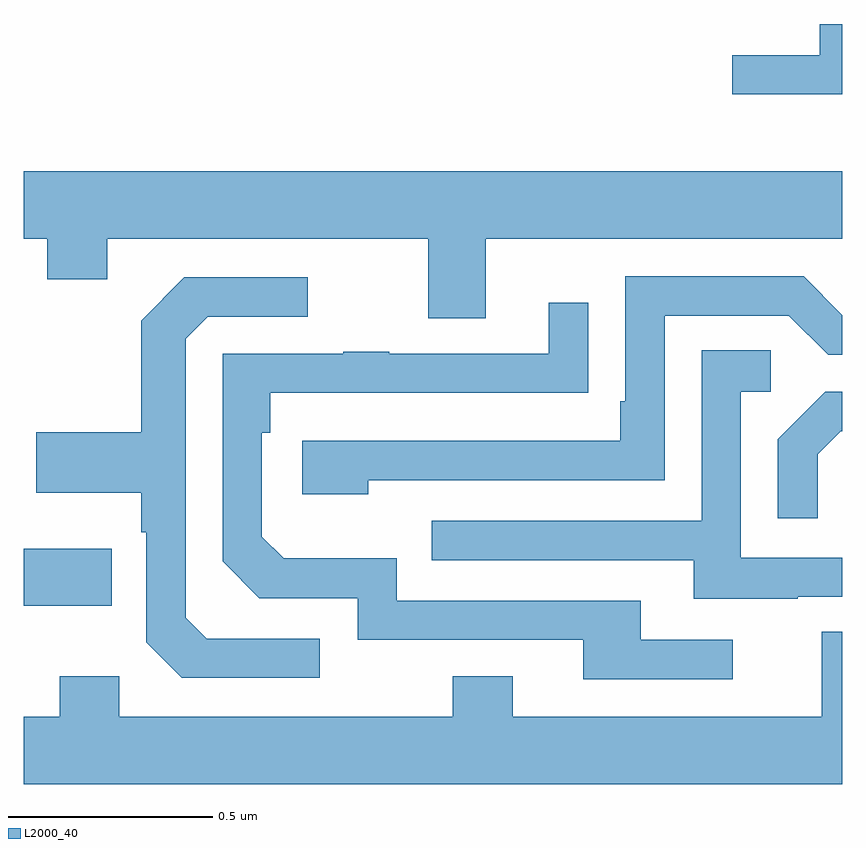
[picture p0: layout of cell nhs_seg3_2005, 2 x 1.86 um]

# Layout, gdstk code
import gdstk
lib = gdstk.Library(unit=1e-6, precision=1e-09)
def R(c, l, rs):  # rectangles x0, y0, x1, y1
    for r in rs: c.add(gdstk.rectangle(r[:2], r[2:], *l))
def P(c, l, *ps):  # polygons
    for p in ps: c.add(gdstk.Polygon(p, *l))
L2000_40 = (2000, 40)

nhs_seg3_2005 = lib.new_cell('nhs_seg3_2005')
R(nhs_seg3_2005, L2000_40, [(135,739.979,135.215,740.119)])
P(nhs_seg3_2005, L2000_40, [(137,741.4),(136.944,741.4),(136.944,741.324),(136.731,741.324),(136.731,741.228),(137,741.228)],
  [(136.129,740.876),(137,740.876),(137,741.04),(135,741.04),(135,740.876),(135.058,740.876),(135.058,740.777),(135.205,740.777),(135.205,740.876),(135.989,740.876),(135.989,740.682),(136.129,740.682)],
  [(135.842,740.286),(136.566,740.286),(136.566,740.688),(136.869,740.688),(136.965,740.592),(137,740.592),(137,740.689),(136.905,740.784),(136.47,740.784),(136.47,740.479),(136.457,740.479),(136.457,740.382),(135.681,740.382),(135.681,740.252),(135.842,740.252)],
  [(135.724,739.899),(135.447,739.899),(135.396,739.95),(135.396,740.631),(135.45,740.685),(135.694,740.685),(135.694,740.781),(135.393,740.781),(135.288,740.675),(135.288,740.403),(135.031,740.403),(135.031,740.255),(135.288,740.255),(135.288,740.159),(135.3,740.159),(135.3,739.89),(135.387,739.803),(135.724,739.803)],
  [(136.732,739.896),(136.507,739.896),(136.507,739.992),(135.912,739.992),(135.912,740.095),(135.635,740.095),(135.582,740.148),(135.582,740.402),(135.602,740.402),(135.602,740.499),(136.277,740.499),(136.277,740.5),(136.379,740.5),(136.379,740.719),(136.283,740.719),(136.283,740.595),(135.893,740.595),(135.893,740.6),(135.781,740.6),(135.781,740.595),(135.486,740.595),(135.486,740.088),(135.576,739.998),(135.816,739.998),(135.816,739.896),(136.367,739.896),(136.367,739.8),(136.732,739.8)],
  [(136.891,740.001),(137,740.001),(137,740.097),(136.752,740.097),(136.752,740.502),(136.825,740.502),(136.825,740.603),(136.656,740.603),(136.656,740.187),(135.997,740.187),(135.997,740.091),(136.637,740.091),(136.637,739.997),(136.891,739.997)],
  [(136.939,740.349),(136.996,740.406),(137,740.406),(137,740.502),(136.958,740.502),(136.842,740.386),(136.842,740.193),(136.939,740.193)],
  [(137,739.916),(136.949,739.916),(136.949,739.708),(136.195,739.708),(136.195,739.807),(136.048,739.807),(136.048,739.708),(135.234,739.708),(135.234,739.807),(135.088,739.807),(135.088,739.708),(135,739.708),(135,739.544),(137,739.544)])

lib.write_gds('nhs_seg3_2005.gds')
